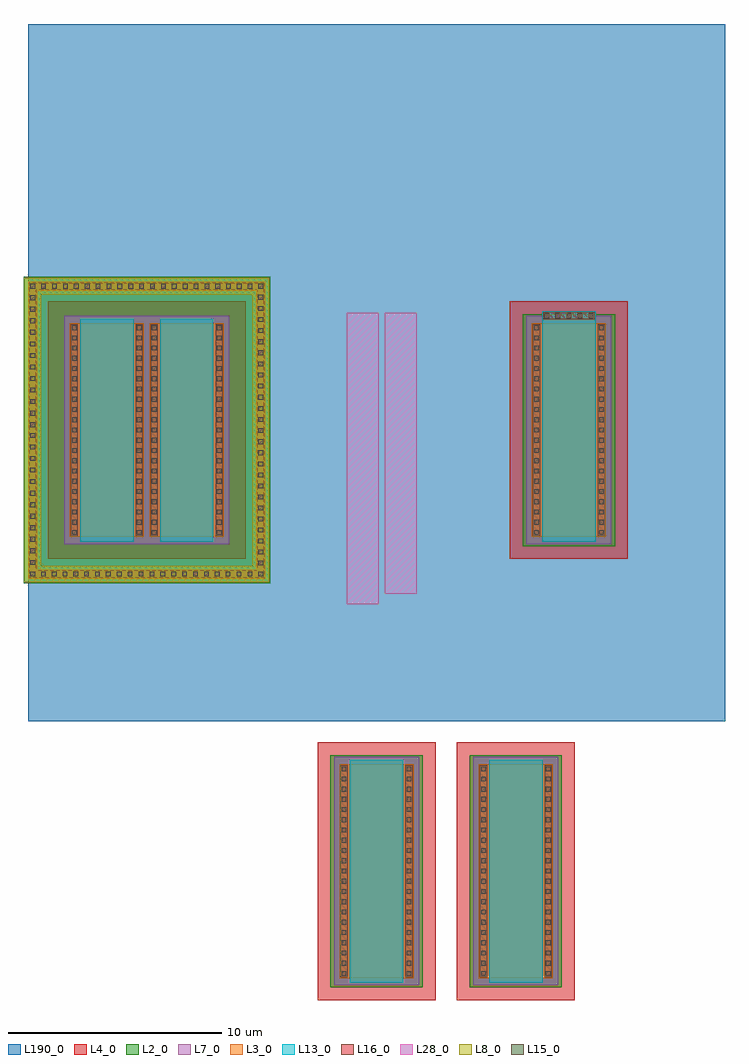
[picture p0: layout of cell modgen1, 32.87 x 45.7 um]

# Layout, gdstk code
import gdstk
lib = gdstk.Library(unit=1e-6, precision=1e-09)
def R(c, l, rs):  # rectangles x0, y0, x1, y1
    for r in rs: c.add(gdstk.rectangle(r[:2], r[2:], *l))
def A(c, l, x, y, w, h, nx, ny, dx, dy):  # array of equal rectangles
    R(c, l, [(x+i*dx, y+j*dy, x+i*dx+w, y+j*dy+h) for i in range(nx) for j in range(ny)])
L2_0 = (2, 0)
L3_0 = (3, 0)
L4_0 = (4, 0)
L7_0 = (7, 0)
L8_0 = (8, 0)
L13_0 = (13, 0)
L15_0 = (15, 0)
L16_0 = (16, 0)
L28_0 = (28, 0)
L190_0 = (190, 0)

pe3_cdns_718787604280 = lib.new_cell('pe3_CDNS_718787604280')
R(pe3_cdns_718787604280, L2_0, [(-0.91,-0.43,3.41,10.43)])
R(pe3_cdns_718787604280, L3_0, [(-0.48,0,0,10), (0,0,2.5,10), (2.5,0,2.98,10)])
R(pe3_cdns_718787604280, L4_0, [(-1.51,-1.03,4.01,11.03), (-1.51,-1.03,4.01,11.03), (-1.51,-1.03,4.01,11.03)])
R(pe3_cdns_718787604280, L7_0, [(-0.74,-0.35,3.24,10.35), (-0.74,-0.35,3.24,10.35)])
R(pe3_cdns_718787604280, L13_0, [(0,-0.22,2.5,0), (0,-0.22,2.5,-0.12), (0,0,2.5,10), (0,10,2.5,10.22), (0,10.12,2.5,10.22)])
A(pe3_cdns_718787604280, L15_0, -0.38, 0.1, 0.22, 0.22, 1, 17, 0, 0.48)
A(pe3_cdns_718787604280, L15_0, 2.66, 0.1, 0.22, 0.22, 1, 17, 0, 0.48)
A(pe3_cdns_718787604280, L15_0, -0.38, 8.255, 0.22, 0.22, 1, 4, 0, 0.475)
A(pe3_cdns_718787604280, L15_0, 2.66, 8.255, 0.22, 0.22, 1, 4, 0, 0.475)
pe3_cdns_718787604280.add(gdstk.FlexPath([(2.77,0.04),(2.77,9.96)], 0.34, ends="flush", simple_path=True, layer=16, datatype=0))  # L16_0
pe3_cdns_718787604280.add(gdstk.FlexPath([(-0.27,0.04),(-0.27,9.96)], 0.34, ends="flush", simple_path=True, layer=16, datatype=0))  # L16_0
pe3_cdns_718787604280.add(gdstk.Label('G', (1.25,-0.17), layer=13, texttype=0))
pe3_cdns_718787604280.add(gdstk.Label('G', (1.25,10.17), layer=13, texttype=0))
pe3_cdns_718787604280.add(gdstk.Label('D', (2.74,5), layer=3, texttype=0))
pe3_cdns_718787604280.add(gdstk.Label('S', (-0.24,5), layer=3, texttype=0))
pe3_cdns_718787604280.add(gdstk.Label('D', (2.77,0.04), layer=16, texttype=0))
pe3_cdns_718787604280.add(gdstk.Label('S', (-0.27,0.04), layer=16, texttype=0))
pe3_cdns_718787604280.add(gdstk.Label('[@instanceName]', (1.25,5), layer=230, texttype=0))

pe3_cdns_718787604281 = lib.new_cell('pe3_CDNS_718787604281')
R(pe3_cdns_718787604281, L2_0, [(-0.91,-0.43,3.41,10.43)])
R(pe3_cdns_718787604281, L3_0, [(-0.48,0,0,10), (0,0,2.5,10), (2.5,0,2.98,10)])
R(pe3_cdns_718787604281, L4_0, [(-1.51,-1.03,4.01,11.03), (-1.51,-1.03,4.01,11.03), (-1.51,-1.03,4.01,11.03)])
R(pe3_cdns_718787604281, L7_0, [(-0.74,-0.35,3.24,10.35), (-0.74,-0.35,3.24,10.35)])
R(pe3_cdns_718787604281, L13_0, [(0,-0.22,2.5,0), (0,-0.22,2.5,-0.12), (0,0,2.5,10), (0,10,2.5,10.15)])
A(pe3_cdns_718787604281, L15_0, -0.38, 0.1, 0.22, 0.22, 1, 17, 0, 0.48)
A(pe3_cdns_718787604281, L15_0, 2.66, 0.1, 0.22, 0.22, 1, 17, 0, 0.48)
A(pe3_cdns_718787604281, L15_0, -0.38, 8.255, 0.22, 0.22, 1, 4, 0, 0.475)
A(pe3_cdns_718787604281, L15_0, 2.66, 8.255, 0.22, 0.22, 1, 4, 0, 0.475)
A(pe3_cdns_718787604281, L15_0, 0.1, 10.25, 0.22, 0.22, 5, 1, 0.52, 0)
pe3_cdns_718787604281.add(gdstk.FlexPath([(0,10.36),(2.5,10.36)], 0.42, ends="flush", simple_path=True, layer=13, datatype=0))  # L13_0
pe3_cdns_718787604281.add(gdstk.FlexPath([(2.77,0.04),(2.77,9.96)], 0.34, ends="flush", simple_path=True, layer=16, datatype=0))  # L16_0
pe3_cdns_718787604281.add(gdstk.FlexPath([(-0.27,0.04),(-0.27,9.96)], 0.34, ends="flush", simple_path=True, layer=16, datatype=0))  # L16_0
pe3_cdns_718787604281.add(gdstk.FlexPath([(0.04,10.36),(2.46,10.36)], 0.34, ends="flush", simple_path=True, layer=16, datatype=0))  # L16_0
pe3_cdns_718787604281.add(gdstk.Label('G', (1.25,-0.17), layer=13, texttype=0))
pe3_cdns_718787604281.add(gdstk.Label('D', (2.74,5), layer=3, texttype=0))
pe3_cdns_718787604281.add(gdstk.Label('S', (-0.24,5), layer=3, texttype=0))
pe3_cdns_718787604281.add(gdstk.Label('D', (2.77,0.04), layer=16, texttype=0))
pe3_cdns_718787604281.add(gdstk.Label('S', (-0.27,0.04), layer=16, texttype=0))
pe3_cdns_718787604281.add(gdstk.Label('G', (0.04,10.36), layer=16, texttype=0))
pe3_cdns_718787604281.add(gdstk.Label('[@instanceName]', (1.25,5.11), layer=230, texttype=0))

modgen1 = lib.new_cell('modgen1')
R(modgen1, L2_0, [(-0.13,6.625,11.095,20.605)])
A(modgen1, L15_0, 0.09, 6.77, 0.22, 0.22, 7, 1, 0.505, 0)
A(modgen1, L15_0, 3.63, 6.77, 0.22, 0.22, 15, 1, 0.51, 0)
A(modgen1, L15_0, 10.77, 7.285, 0.22, 0.22, 1, 8, 0, 0.515)
A(modgen1, L15_0, 0.09, 7.86, 0.22, 0.22, 1, 11, 0, 0.54)
A(modgen1, L15_0, 10.77, 11.41, 0.22, 0.22, 1, 17, 0, 0.52)
A(modgen1, L15_0, 0.09, 13.76, 0.22, 0.22, 1, 3, 0, 0.545)
A(modgen1, L15_0, 0.09, 15.39, 0.22, 0.22, 1, 9, 0, 0.54)
A(modgen1, L15_0, 0.09, 20.25, 0.22, 0.22, 16, 1, 0.51, 0)
A(modgen1, L15_0, 8.245, 20.25, 0.22, 0.22, 6, 1, 0.505, 0)
R(modgen1, L15_0, [(0.09,7.315,0.31,7.535)])
R(modgen1, L190_0, [(0,0,32.635,32.635)])
modgen1.add(gdstk.FlexPath([(0.2,13.62),(0.2,20.36),(10.88,20.36),(10.88,6.88),(0.2,6.88),(0.2,13.62)], 0.42, ends="flush", simple_path=True, layer=3, datatype=0))  # L3_0
modgen1.add(gdstk.FlexPath([(0.2,13.62),(0.2,20.36),(10.88,20.36),(10.88,6.88),(0.2,6.88),(0.2,13.62)], 0.34, ends="flush", simple_path=True, layer=16, datatype=0))  # L16_0
modgen1.add(gdstk.FlexPath([(0.2,13.62),(0.2,20.36),(10.88,20.36),(10.88,6.88),(0.2,6.88),(0.2,13.62)], 0.86, ends="flush", simple_path=True, layer=2, datatype=0))  # L2_0
modgen1.add(gdstk.FlexPath([(0.2,13.62),(0.2,20.36),(10.88,20.36),(10.88,6.88),(0.2,6.88),(0.2,13.62)], 0.78, ends="flush", simple_path=True, layer=8, datatype=0))  # L8_0
modgen1.add(gdstk.FlexPath([(17.44,19.105),(17.44,5.955)], 1.5, ends="flush", simple_path=True, layer=28, datatype=0))  # L28_0
modgen1.add(gdstk.FlexPath([(15.66,19.125),(15.66,5.465)], 1.5, ends="flush", simple_path=True, layer=28, datatype=0))  # L28_0
modgen1.add(gdstk.Reference(pe3_cdns_718787604280, (6.16,8.62)))
modgen1.add(gdstk.Reference(pe3_cdns_718787604280, (2.42,8.62)))
modgen1.add(gdstk.Reference(pe3_cdns_718787604280, (21.57,-12.03)))
modgen1.add(gdstk.Reference(pe3_cdns_718787604280, (15.05,-12.03)))
modgen1.add(gdstk.Reference(pe3_cdns_718787604281, (24.055,8.62)))

lib.write_gds('modgen1.gds')
